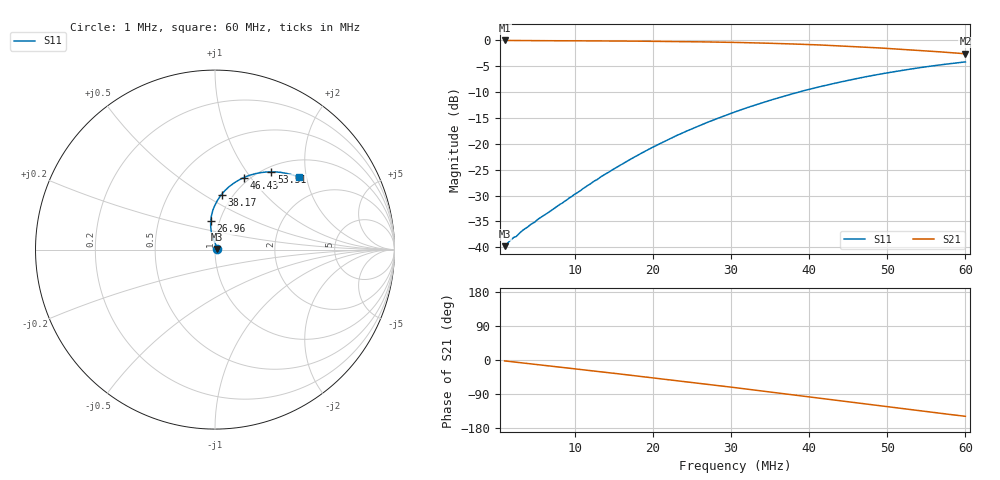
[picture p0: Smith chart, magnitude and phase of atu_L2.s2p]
! S11/S21 from S-A-A-2 VNA
! Written 2026-11-14 07:40:33 by the saav2 MCP server
! S12 and S22 were not measured (1.5-port VNA) and are written as 0
# HZ S RI R 50
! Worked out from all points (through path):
!   201 points, 1 MHz to 60 MHz, reference 50 ohm
!   highest |S21| = -0.02 dB at 1 MHz (marker M1); lowest = -2.6 dB at 60 MHz (marker M2)
!   group delay of S21, straight-line fit = 6.93 ns
!   lowest |S11| = -39.8 dB at 1 MHz (marker M3), VSWR 1.02, Z = 51 + j0.391 ohm
!   |S11| at or under -10 dB: start of sweep to 38.64 MHz
!   S12 and S22 are empty: the file has one direction only
!   S11 on the Smith chart (normalised r, x): 1 MHz: 1.02, +0.01; 26.96 MHz: 0.91, +0.30; 38.17 MHz: 0.88, +0.60; 46.43 MHz: 0.94, +0.93; 53.51 MHz: 1.09, +1.32; 60 MHz: 1.39, +1.82
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1000000  0.00951 0.00384  0.9973 -0.0406  0 0  0 0
2180000  0.01 0.00746  0.9914 -0.0893  0 0  0 0
2475000  0.00983 0.00804  0.99 -0.1014  0 0  0 0
3360000  0.00993 0.0108  0.9851 -0.1369  0 0  0 0
7195000  0.00669 0.0224  0.9498 -0.2868  0 0  0 0
1.103e7  9.82e-05 0.0369  0.8909 -0.4302  0 0  0 0
1.339e7  -0.00478 0.0481  0.8436 -0.5133  0 0  0 0
1.575e7  -0.0101 0.0611  0.7881 -0.5915  0 0  0 0
1.8405e7  -0.016 0.0787  0.7156 -0.6723  0 0  0 0
2.0765e7  -0.0204 0.0972  0.6432 -0.7369  0 0  0 0
2.3715e7  -0.0237 0.1245  0.5429 -0.8079  0 0  0 0
2.696e7  -0.024 0.1594  0.4223 -0.8685  0 0  0 0
3.05e7  -0.0165 0.2028  0.2806 -0.9131  0 0  0 0
3.4335e7  0.00285 0.2541  0.1204 -0.9329  0 0  0 0
3.817e7  0.0363 0.307  -0.0405 -0.9207  0 0  0 0
4.053e7  0.0648 0.3382  -0.1371 -0.8977  0 0  0 0
4.3185e7  0.104 0.369  -0.2386 -0.8576  0 0  0 0
4.643e7  0.1609 0.4016  -0.3522 -0.7911  0 0  0 0
5.0265e7  0.24 0.4261  -0.4654 -0.692  0 0  0 0
5.351e7  0.3147 0.4331  -0.541 -0.5954  0 0  0 0
5.705e7  0.3999 0.4244  -0.6017 -0.4831  0 0  0 0
6e7  0.4699 0.4032  -0.6338 -0.3865  0 0  0 0
